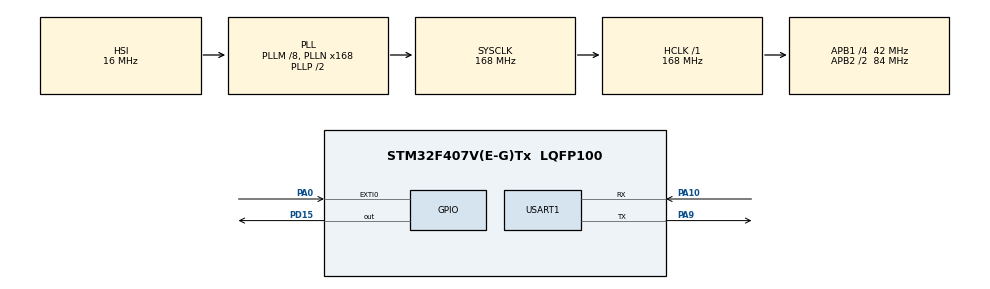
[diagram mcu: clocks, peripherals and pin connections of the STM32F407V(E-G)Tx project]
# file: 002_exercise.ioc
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Mcu.Family=STM32F4
Mcu.Name=STM32F407V(E-G)Tx
Mcu.Package=LQFP100
NVIC.EXTI0_IRQn=true\:0\:0\:false\:false\:true\:true\:true\:true
NVIC.PriorityGroup=NVIC_PRIORITYGROUP_4
NVIC.TIM6_DAC_IRQn=true\:0\:0\:false\:false\:true\:false\:true\:true
NVIC.TimeBase=TIM6_DAC_IRQn
NVIC.TimeBaseIP=TIM6
PA0-WKUP.GPIO_ModeDefaultEXTI=GPIO_MODE_IT_RISING
PA0-WKUP.Signal=GPXTI0
PA10.Mode=Asynchronous
PA10.Signal=USART1_RX
PA9.Mode=Asynchronous
PA9.Signal=USART1_TX
PD15.Signal=GPIO_Output
PH0-OSC_IN.Mode=HSE-External-Oscillator
PH0-OSC_IN.Signal=RCC_OSC_IN
PH1-OSC_OUT.Mode=HSE-External-Oscillator
PH1-OSC_OUT.Signal=RCC_OSC_OUT
ProjectManager.HeapSize=0x200
ProjectManager.StackSize=0x400
ProjectManager.TargetToolchain=STM32CubeIDE
RCC.48MHZClocksFreq_Value=48000000
RCC.AHBFreq_Value=168000000
RCC.APB1CLKDivider=RCC_HCLK_DIV4
RCC.APB1Freq_Value=42000000
RCC.APB1TimFreq_Value=84000000
RCC.APB2CLKDivider=RCC_HCLK_DIV2
RCC.APB2Freq_Value=84000000
RCC.APB2TimFreq_Value=168000000
RCC.CortexFreq_Value=168000000
RCC.HCLKFreq_Value=168000000
RCC.HSE_VALUE=8000000
RCC.HSI_VALUE=16000000
RCC.LSE_VALUE=32768
RCC.PLLM=8
RCC.PLLN=168
RCC.PLLQ=7
RCC.SYSCLKFreq_VALUE=168000000
RCC.SYSCLKSource=RCC_SYSCLKSOURCE_PLLCLK
RCC.VCOOutputFreq_Value=336000000
USART1.Parity=PARITY_EVEN
USART1.VirtualMode=VM_ASYNC
VP_SYS_VS_tim6.Mode=TIM6
board=STM32F407G-DISC1

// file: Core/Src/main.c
/* USER CODE BEGIN Header */
/**
  ******************************************************************************
  * @file           : main.c
  * @brief          : Main program body
  ******************************************************************************
  * @attention
  *
  * <h2><center>&copy; Copyright (c) 2021 STMicroelectronics.
  * All rights reserved.</center></h2>
  *
  * This software component is licensed by ST under BSD 3-Clause license,
  * the "License"; You may not use this file except in compliance with the
  * License. You may obtain a copy of the License at:
  *                        opensource.org/licenses/BSD-3-Clause
  *
  ******************************************************************************
  */
/* USER CODE END Header */

#include "main.h"

/* USER CODE BEGIN Includes */
#include <stdio.h>
#include "FreeRTOS.h"
#include "task.h"

/* USER CODE END Includes */

/* USER CODE BEGIN PM */
#define UNPRESS 0
#define PRESS 1
/* USER CODE END PM */

UART_HandleTypeDef huart1;

/* USER CODE BEGIN PV */
int BNT_Status = UNPRESS;
/* USER CODE END PV */

void SystemClock_Config(void);
static void MX_GPIO_Init(void);
static void MX_USART1_UART_Init(void);
/* USER CODE BEGIN PFP */

static void led_task_handler(void* parameters);

/* USER CODE END PFP */

int main(void)
{
  /* USER CODE BEGIN 1 */

	BaseType_t status;

  /* USER CODE END 1 */

  /* MCU Configuration--------------------------------------------------------*/

  /* Reset of all peripherals, Initializes the Flash interface and the Systick. */
  HAL_Init();

  /* Configure the system clock */
  SystemClock_Config();

  /* Initialize all configured peripherals */
  MX_GPIO_Init();
  MX_USART1_UART_Init();
  /* USER CODE BEGIN 2 */

  status = xTaskCreate(led_task_handler, "LED Task", configMINIMAL_STACK_SIZE, NULL, 1, NULL);
  configASSERT(status == pdPASS);

  //start the freeRTOS scheduler
  vTaskStartScheduler();

  //if the control comes here, then the launch of the scheduler has failed due to
  //insufficient memory in heap

  /* USER CODE END 2 */

  /* Infinite loop */
  while (1)
  {

  }
}

void SystemClock_Config(void)
{
  RCC_OscInitTypeDef RCC_OscInitStruct = {0};
  RCC_ClkInitTypeDef RCC_ClkInitStruct = {0};

  /** Configure the main internal regulator output voltage
  */
  __HAL_RCC_PWR_CLK_ENABLE();
  __HAL_PWR_VOLTAGESCALING_CONFIG(PWR_REGULATOR_VOLTAGE_SCALE1);
  /** Initializes the CPU, AHB and APB busses clocks
  */
  RCC_OscInitStruct.OscillatorType = RCC_OSCILLATORTYPE_HSI;
  RCC_OscInitStruct.HSIState = RCC_HSI_ON;
  RCC_OscInitStruct.HSICalibrationValue = RCC_HSICALIBRATION_DEFAULT;
  RCC_OscInitStruct.PLL.PLLState = RCC_PLL_ON;
  RCC_OscInitStruct.PLL.PLLSource = RCC_PLLSOURCE_HSI;
  RCC_OscInitStruct.PLL.PLLM = 8;
  RCC_OscInitStruct.PLL.PLLN = 168;
  RCC_OscInitStruct.PLL.PLLP = RCC_PLLP_DIV2;
  RCC_OscInitStruct.PLL.PLLQ = 7;
  if (HAL_RCC_OscConfig(&RCC_OscInitStruct) != HAL_OK)
  {
    Error_Handler();
  }
  /** Initializes the CPU, AHB and APB busses clocks
  */
  RCC_ClkInitStruct.ClockType = RCC_CLOCKTYPE_HCLK|RCC_CLOCKTYPE_SYSCLK
                              |RCC_CLOCKTYPE_PCLK1|RCC_CLOCKTYPE_PCLK2;
  RCC_ClkInitStruct.SYSCLKSource = RCC_SYSCLKSOURCE_PLLCLK;
  RCC_ClkInitStruct.AHBCLKDivider = RCC_SYSCLK_DIV1;
  RCC_ClkInitStruct.APB1CLKDivider = RCC_HCLK_DIV4;
  RCC_ClkInitStruct.APB2CLKDivider = RCC_HCLK_DIV2;

  if (HAL_RCC_ClockConfig(&RCC_ClkInitStruct, FLASH_LATENCY_5) != HAL_OK)
  {
    Error_Handler();
  }
}

static void MX_USART1_UART_Init(void)
{

  huart1.Instance = USART1;
  huart1.Init.BaudRate = 115200;
  huart1.Init.WordLength = UART_WORDLENGTH_8B;
  huart1.Init.StopBits = UART_STOPBITS_1;
  huart1.Init.Parity = UART_PARITY_EVEN;
  huart1.Init.Mode = UART_MODE_TX_RX;
  huart1.Init.HwFlowCtl = UART_HWCONTROL_NONE;
  huart1.Init.OverSampling = UART_OVERSAMPLING_16;
  if (HAL_UART_Init(&huart1) != HAL_OK)
  {
    Error_Handler();
  }

}

static void MX_GPIO_Init(void)
{
  GPIO_InitTypeDef GPIO_InitStruct = {0};

  /* GPIO Ports Clock Enable */
  __HAL_RCC_GPIOH_CLK_ENABLE();
  __HAL_RCC_GPIOA_CLK_ENABLE();
  __HAL_RCC_GPIOD_CLK_ENABLE();

  /*Configure GPIO pin Output Level */
  HAL_GPIO_WritePin(GPIOD, GPIO_PIN_15, GPIO_PIN_RESET);

  /*Configure GPIO pin : PA0 */
  GPIO_InitStruct.Pin = GPIO_PIN_0;
  GPIO_InitStruct.Mode = GPIO_MODE_IT_RISING;
  GPIO_InitStruct.Pull = GPIO_NOPULL;
  HAL_GPIO_Init(GPIOA, &GPIO_InitStruct);

  /*Configure GPIO pin : PD15 */
  GPIO_InitStruct.Pin = GPIO_PIN_15;
  GPIO_InitStruct.Mode = GPIO_MODE_OUTPUT_PP;
  GPIO_InitStruct.Pull = GPIO_NOPULL;
  GPIO_InitStruct.Speed = GPIO_SPEED_FREQ_LOW;
  HAL_GPIO_Init(GPIOD, &GPIO_InitStruct);

  /* EXTI interrupt init*/
  HAL_NVIC_SetPriority(EXTI0_IRQn, 0, 0);
  HAL_NVIC_EnableIRQ(EXTI0_IRQn);

}

/* USER CODE BEGIN 4 */

static void led_task_handler(void* parameters)
{
	while(1)
	{
		if(BNT_Status == PRESS)
		{
			// set led
			HAL_GPIO_WritePin(GPIOD, GPIO_PIN_15, GPIO_PIN_SET);
		}else
		{
			// off led
			HAL_GPIO_WritePin(GPIOD, GPIO_PIN_15, GPIO_PIN_RESET);
		}
	}
}

void HAL_GPIO_EXTI_Callback(uint16_t GPIO_Pin)
{
	if(GPIO_Pin == GPIO_PIN_0)
	{
		if(BNT_Status == PRESS)
		{
			BNT_Status = UNPRESS;
		}
		else
		{
			BNT_Status = PRESS;
		}
	}
}

/* USER CODE END 4 */

void HAL_TIM_PeriodElapsedCallback(TIM_HandleTypeDef *htim)
{
  if (htim->Instance == TIM6) {
    HAL_IncTick();
  }
}

void Error_Handler(void)
{
}

/************************ (C) COPYRIGHT STMicroelectronics *****END OF FILE****/
